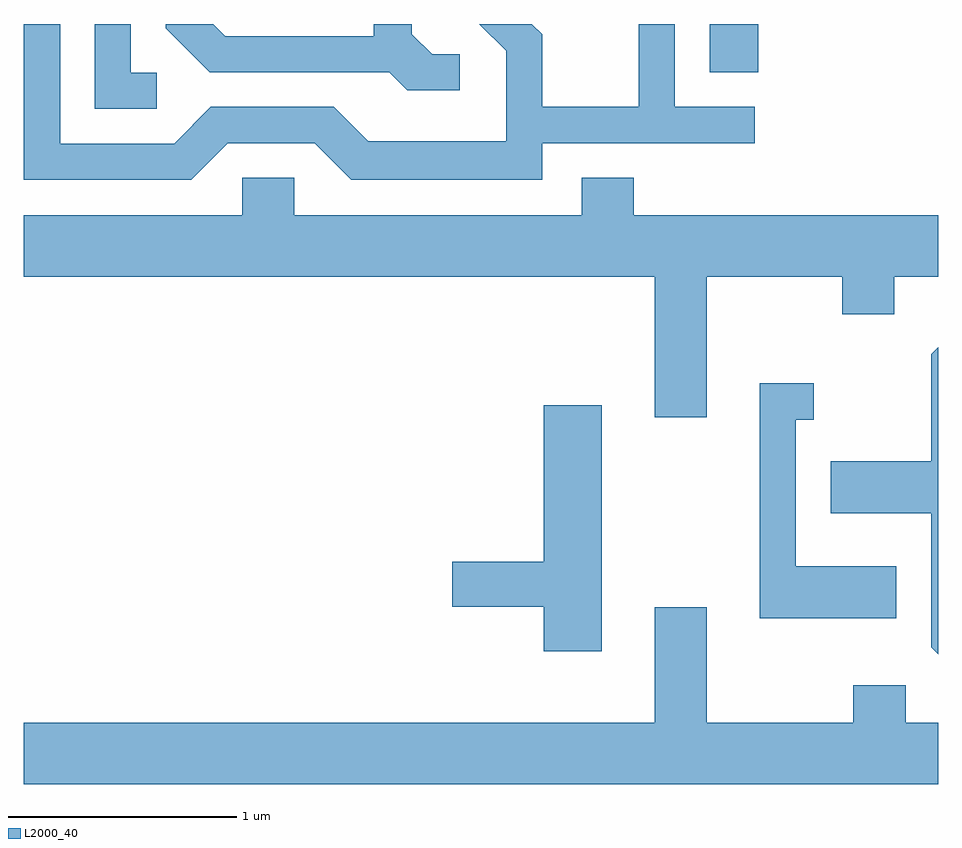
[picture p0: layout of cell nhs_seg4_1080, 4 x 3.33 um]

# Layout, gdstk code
import gdstk
lib = gdstk.Library(unit=1e-6, precision=1e-09)
def R(c, l, rs):  # rectangles x0, y0, x1, y1
    for r in rs: c.add(gdstk.rectangle(r[:2], r[2:], *l))
def P(c, l, *ps):  # polygons
    for p in ps: c.add(gdstk.Polygon(p, *l))
L2000_40 = (2000, 40)

nhs_seg4_1080 = lib.new_cell('nhs_seg4_1080')
R(nhs_seg4_1080, L2000_40, [(218.611,1377.771,218.824,1377.982)])
P(nhs_seg4_1080, L2000_40, [(216.502,1377.461),(216.884,1377.461),(217.044,1377.301),(217.879,1377.301),(217.879,1377.461),(218.808,1377.461),(218.808,1377.619),(218.459,1377.619),(218.459,1377.982),(218.301,1377.982),(218.301,1377.619),(217.879,1377.619),(217.879,1377.937),(217.834,1377.982),(217.603,1377.982),(217.721,1377.864),(217.721,1377.469),(217.117,1377.469),(216.967,1377.619),(216.429,1377.619),(216.269,1377.459),(215.769,1377.459),(215.769,1377.982),(215.611,1377.982),(215.611,1377.301),(216.342,1377.301)],
  [(216.193,1377.769),(216.079,1377.769),(216.079,1377.982),(215.921,1377.982),(215.921,1377.611),(216.193,1377.611)],
  [(217.518,1377.849),(217.397,1377.849),(217.309,1377.937),(217.309,1377.982),(217.141,1377.982),(217.141,1377.929),(216.492,1377.929),(216.439,1377.982),(216.231,1377.982),(216.231,1377.964),(216.424,1377.771),(217.209,1377.771),(217.289,1377.691),(217.518,1377.691)],
  [(218.599,1376.876),(219.191,1376.876),(219.191,1376.711),(219.419,1376.711),(219.419,1376.876),(219.611,1376.876),(219.611,1377.144),(218.279,1377.144),(218.279,1377.309),(218.051,1377.309),(218.051,1377.144),(216.794,1377.144),(216.794,1377.309),(216.566,1377.309),(216.566,1377.144),(215.611,1377.144),(215.611,1376.876),(218.371,1376.876),(218.371,1376.261),(218.599,1376.261)],
  [(219.611,1376.567),(219.581,1376.537),(219.581,1376.069),(219.141,1376.069),(219.141,1375.841),(219.581,1375.841),(219.581,1375.254),(219.611,1375.224)],
  [(219.429,1375.609),(218.989,1375.609),(218.989,1376.251),(219.068,1376.251),(219.068,1376.409),(218.831,1376.409),(218.831,1375.381),(219.429,1375.381)],
  [(218.139,1376.314),(217.886,1376.314),(217.886,1375.629),(217.486,1375.629),(217.486,1375.431),(217.886,1375.431),(217.886,1375.236),(218.139,1375.236)],
  [(219.611,1374.924),(219.469,1374.924),(219.469,1375.089),(219.241,1375.089),(219.241,1374.924),(218.599,1374.924),(218.599,1375.429),(218.371,1375.429),(218.371,1374.924),(215.611,1374.924),(215.611,1374.656),(219.611,1374.656)])

lib.write_gds('nhs_seg4_1080.gds')
